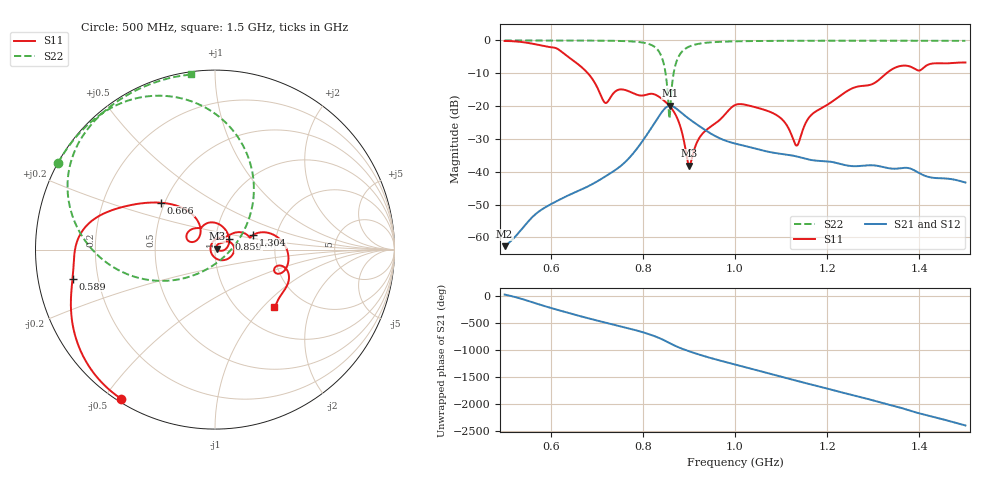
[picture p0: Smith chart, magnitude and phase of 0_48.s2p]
! TOUCHSTONE file generated by CST MICROWAVE STUDIO
! Date and time: Sat Oct 24 11:18:30 2020
! Project name: Scenario_1_Circular_Tissue_in_Line.cst
! Parameters = {L_HA=400; MT=2.54; Rad_Dielectric=30; Rad_Lower=7.3; Rad_Upper=30; a_HA=580; a_WG=246; b_HA=500; b_WG=121; c_HA=0; c_WG=187; d_feed=85; dx1=987.04; h_feed=15; h_lower=18; h_upper=40}
! Header version: 2018
! Port assignment regex: !\s*Touchstone port\s*([0-9]+)\s*=\s*(CST MWS port|CST DS port)\s*([0-9]+|Zmin|Zmax)\s*\(\"(.*)\"\)(\s*mode\s*([0-9]+))?.*
! Touchstone port assignment:
! Touchstone port 1 = CST MWS port 1 ("")
! Touchstone port 2 = CST MWS port 2 ("")
# GHz S DB R 50
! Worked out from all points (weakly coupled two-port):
!   1003 points, 500 MHz to 1.5 GHz, reference 50 ohm
!   highest |S21| = -19.92 dB at 859 MHz (marker M1); lowest = -62.7 dB at 500 MHz (marker M2)
!   lowest |S11| = -38.2 dB at 901 MHz (marker M3), VSWR 1.02, Z = 51.1 + j0.623 ohm
!   |S11| at or under -10 dB: 680.6 MHz to 1.329 GHz (648.2 MHz wide, 64.5 % of centre)
!   |S22| runs from -23.8 to 0.0 dB; largest |S21 - S12| = 1.9e-06
!   S11 on the Smith chart (normalised r, x): 500 MHz: 0.01, -0.55; 589 MHz: 0.11, -0.10; 666 MHz: 0.48, +0.30; 859 MHz: 1.16, +0.14; 1.304 GHz: 1.51, +0.26; 1.5 GHz: 1.43, -1.17
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0.5  -0.16 -122.3  -62.69 26.7  -62.69 26.7  -0.01 151.1
0.589  -1.83 -168.5  -50.79 167.8  -50.79 167.8  -0.02 144.9
0.625  -3.60 162.8  -48.11 79.9  -48.11 79.9  -0.03 142.1
0.666  -8.01 139.0  -45.47 -16.7  -45.47 -16.7  -0.04 138.4
0.667  -8.13 138.4  -45.41 -19.0  -45.41 -19.0  -0.04 138.3
0.719  -19.05 144.0  -41.41 -133.1  -41.41 -133.1  -0.09 132.4
0.749  -14.96 152.3  -38.59 163.5  -38.59 163.5  -0.16 127.6
0.791  -16.70 125.0  -32.27 72.8  -32.27 72.8  -0.48 116.6
0.834  -17.07 77.6  -23.29 -50.4  -23.29 -50.4  -3.19 83.5
0.848  -18.59 55.1  -20.71 -105.0  -20.71 -105.0  -8.89 53.4
0.855  -19.52 43.4  -20.03 -135.6  -20.03 -135.6  -18.28 16.0
0.859  -20.14 36.4  -19.92 -153.3  -19.92 -153.3  -22.07 -87.7
0.874  -23.50 8.3  -20.91 145.4  -20.91 145.4  -6.06 -163.5
0.901  -38.18 29.6  -23.97 58.0  -23.97 58.0  -1.84 167.5
0.928  -28.64 59.0  -26.63 -16.6  -26.63 -16.6  -0.87 155.1
1  -19.70 14.9  -31.42 176.0  -31.42 176.0  -0.27 140.2
1.091  -22.82 -55.1  -34.38 -27.4  -34.38 -27.4  -0.13 130.5
1.133  -32.02 -166.7  -35.33 -123.2  -35.33 -123.2  -0.11 126.9
1.167  -22.52 65.7  -36.48 163.0  -36.48 163.0  -0.10 124.2
1.304  -12.86 20.9  -38.11 -138.1  -38.11 -138.1  -0.08 113.7
1.334  -9.43 14.1  -38.95 153.1  -38.95 153.1  -0.09 111.4
1.5  -6.72 -44.2  -43.29 130.4  -43.28 130.5  -0.13 97.9
